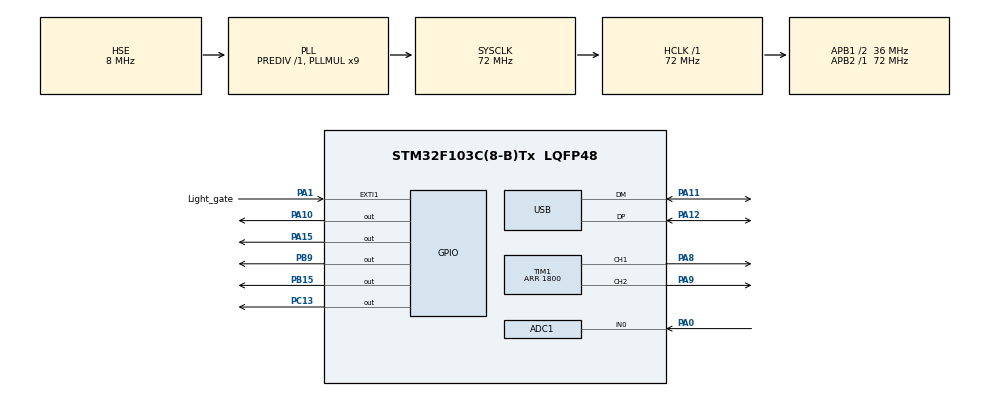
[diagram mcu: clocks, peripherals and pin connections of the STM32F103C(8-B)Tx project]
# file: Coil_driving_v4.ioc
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ADC1.Channel-0\#ChannelRegularConversion=ADC_CHANNEL_0
ADC1.ContinuousConvMode=DISABLE
ADC1.ExternalTrigConv=ADC_EXTERNALTRIGCONV_T1_CC3
ADC1.NbrOfConversion=1
ADC1.NbrOfConversionFlag=1
ADC1.Rank-0\#ChannelRegularConversion=1
ADC1.SamplingTime-0\#ChannelRegularConversion=ADC_SAMPLETIME_1CYCLE_5
ADC1.master=1
Dma.ADC1.0.Direction=DMA_PERIPH_TO_MEMORY
Dma.ADC1.0.Instance=DMA1_Channel1
Dma.ADC1.0.MemDataAlignment=DMA_MDATAALIGN_HALFWORD
Dma.ADC1.0.MemInc=DMA_MINC_ENABLE
Dma.ADC1.0.Mode=DMA_NORMAL
Dma.ADC1.0.PeriphDataAlignment=DMA_PDATAALIGN_HALFWORD
Dma.ADC1.0.PeriphInc=DMA_PINC_DISABLE
Dma.ADC1.0.Priority=DMA_PRIORITY_LOW
Dma.Request0=ADC1
Mcu.Family=STM32F1
Mcu.Name=STM32F103C(8-B)Tx
Mcu.Package=LQFP48
NVIC.ADC1_2_IRQn=true\:0\:0\:false\:false\:true\:true\:true\:true
NVIC.DMA1_Channel1_IRQn=true\:0\:0\:false\:false\:true\:false\:true\:true
NVIC.EXTI1_IRQn=true\:0\:0\:false\:false\:true\:true\:true\:true
NVIC.PriorityGroup=NVIC_PRIORITYGROUP_4
NVIC.TIM1_CC_IRQn=true\:0\:0\:false\:false\:true\:true\:true\:true
NVIC.TIM1_TRG_COM_IRQn=true\:0\:0\:false\:false\:true\:true\:true\:true
NVIC.TIM1_UP_IRQn=true\:0\:0\:false\:false\:true\:true\:true\:true
NVIC.USB_LP_CAN1_RX0_IRQn=true\:0\:0\:false\:false\:true\:false\:true\:true
PA0-WKUP.Signal=ADCx_IN0
PA1.GPIO_Label=Light_gate
PA1.GPIO_ModeDefaultEXTI=GPIO_MODE_IT_RISING_FALLING
PA1.GPIO_PuPd=GPIO_PULLUP
PA1.Signal=GPXTI1
PA10.Signal=GPIO_Output
PA11.Mode=Device
PA11.Signal=USB_DM
PA12.Mode=Device
PA12.Signal=USB_DP
PA13.Mode=Serial_Wire
PA13.Signal=SYS_JTMS-SWDIO
PA14.Mode=Serial_Wire
PA14.Signal=SYS_JTCK-SWCLK
PA15.Signal=GPIO_Output
PA8.Signal=S_TIM1_CH1
PA9.Signal=S_TIM1_CH2
PB15.Signal=GPIO_Output
PB9.Signal=GPIO_Output
PC13-TAMPER-RTC.PinState=GPIO_PIN_SET
PC13-TAMPER-RTC.Signal=GPIO_Output
PD0-OSC_IN.Mode=HSE-External-Oscillator
PD0-OSC_IN.Signal=RCC_OSC_IN
PD1-OSC_OUT.Mode=HSE-External-Oscillator
PD1-OSC_OUT.Signal=RCC_OSC_OUT
ProjectManager.HeapSize=0x200
ProjectManager.StackSize=0x400
ProjectManager.TargetToolchain=STM32CubeIDE
RCC.ADCPresc=RCC_ADCPCLK2_DIV6
RCC.AHBFreq_Value=72000000
RCC.APB1CLKDivider=RCC_HCLK_DIV2
RCC.APB1Freq_Value=36000000
RCC.APB1TimFreq_Value=72000000
RCC.APB2Freq_Value=72000000
RCC.APB2TimFreq_Value=72000000
RCC.HCLKFreq_Value=72000000
RCC.PLLMUL=RCC_PLL_MUL9
RCC.PLLSourceVirtual=RCC_PLLSOURCE_HSE
RCC.SYSCLKFreq_VALUE=72000000
RCC.SYSCLKSource=RCC_SYSCLKSOURCE_PLLCLK
RCC.USBFreq_Value=48000000
RCC.USBPrescaler=RCC_USBCLKSOURCE_PLL_DIV1_5
SH.ADCx_IN0.0=ADC1_IN0,IN0
SH.S_TIM1_CH1.0=TIM1_CH1,PWM Generation1 CH1
SH.S_TIM1_CH2.0=TIM1_CH2,PWM Generation2 CH2
TIM1.Channel-PWM\ Generation1\ CH1=TIM_CHANNEL_1
TIM1.Channel-PWM\ Generation2\ CH2=TIM_CHANNEL_2
TIM1.Channel-PWM\ Generation3\ No\ Output=TIM_CHANNEL_3
TIM1.CounterMode=TIM_COUNTERMODE_CENTERALIGNED1
TIM1.Period=1800
TIM1.TIM_MasterOutputTrigger=TIM_TRGO_OC3REF
TIM2.Prescaler=71
USB_DEVICE.CLASS_NAME_FS=CDC
USB_DEVICE.USBD_MAX_STR_DESC_SIZ=1024
USB_DEVICE.VirtualMode=Cdc
USB_DEVICE.VirtualModeFS=Cdc_FS
VP_TIM1_VS_ClockSourceINT.Mode=Internal
VP_TIM1_VS_no_output3.Mode=PWM Generation3 No Output
VP_TIM2_VS_ClockSourceINT.Mode=Internal
VP_USB_DEVICE_VS_USB_DEVICE_CDC_FS.Mode=CDC_FS
board=custom

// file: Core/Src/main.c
/* USER CODE BEGIN Header */
/**
  ******************************************************************************
  * @file           : main.c
  * @brief          : Main program body
  ******************************************************************************
  * @attention
  *
  * Copyright (c) 2026 STMicroelectronics.
  * All rights reserved.
  *
  * This software is licensed under terms that can be found in the LICENSE file
  * in the root directory of this software component.
  * If no LICENSE file comes with this software, it is provided AS-IS.
  *
  ******************************************************************************
  */
/* USER CODE END Header */
#include "main.h"
#include "adc.h"
#include "dma.h"
#include "tim.h"
#include "usb_device.h"
#include "gpio.h"

/* USER CODE BEGIN Includes */
#include "usbd_cdc_if.h"
#include <stdint.h>
#include <string.h>
#include <stdio.h>
#include <stdlib.h>
#include <math.h>
#include "debug.h"
#include "bts7960.h"
/* USER CODE END Includes */

/* USER CODE BEGIN PD */
#define PWM_TIM htim1
#define RPWM_CHANNEL TIM_CHANNEL_2
#define LPWM_CHANNEL TIM_CHANNEL_1
#define R_EN_PIN GPIO_PIN_10
#define L_EN_PIN GPIO_PIN_15
#define R_EN_PORT GPIOA
#define L_EN_PORT GPIOB

#define VREF 3.3f
#define ADC_MAX 4095
#define SENSOR_ZERO 1.670f //1.360f
#define MV_PER_AMP 0.185f
#define TARGET_CURRENT 7.5f
#define ADC_BUF_LEN 64
#define PACKET_SIZE 128
#define HYST_MAX 0.8f
#define HYST_MIN 0.5f

#define DT 0.00005f

#define ADC_BUF_LEN 64
#define ADC_RAW_TO_VOLTAGE 0.0008058608059
#define PACKET_SIZE 128

#define GATE_WIDTH_M     0.005f
#define GATE_TO_COIL_M  0.01f
/* USER CODE END PD */

/* USER CODE BEGIN PV */
// Light Gate test variables
volatile uint32_t gate_start = 0;
volatile uint32_t gate_time_us = 0;
volatile uint8_t  gate_active = 0;
volatile uint8_t  gate_done = 0;

volatile float    ball_speed = 0.0f;
volatile uint32_t coil_delay_ms = 0;
volatile uint8_t  auto_trigger_pending = 0;
volatile uint8_t  delay_active = 0;
volatile uint32_t delay_start_time = 0;

volatile uint32_t coil_arrival_delay_ms = 0;
volatile uint32_t coil_hold_time_ms = 0;

// Speed control
float target_speed = 3.0f;    // m/s (you choose)
float speed_error = 0.0f;
float speed_error_prev = 0.0f;
float speed_integral = 0.0f;

// PID gains (start conservative)
float Kp = 7.0f;
float Ki = 0.04f;
float Kd = 0.1f;

// PID output
float hold_time_scale = 1.0f;
static uint32_t last_speed_tick = 0; // keeps track of last tick for PID dt

// USB buffer
extern uint8_t UserRxBufferFS[APP_RX_DATA_SIZE];
extern uint32_t UserRxLengthFS;
extern USBD_HandleTypeDef hUsbDeviceFS;
char inputBuffer[APP_RX_DATA_SIZE];
uint32_t inputIndex = 0;
volatile uint8_t usb_ready = 0;
volatile uint8_t send_adc_data = 0;

// DMA setup
volatile uint16_t adc_buf[ADC_BUF_LEN];
volatile float currentVoltage[ADC_BUF_LEN];
char uart_msg[16];
static uint16_t last_mv = 0;
volatile uint8_t dma_buffer_full = 0;

// Current sensor
uint16_t raw_adc_current;
volatile float measured_current = 0.0f;

// State
volatile uint8_t stop_requested = 0;
uint8_t stopCheck(void);
void runAutoPhases(void);

// Auto mode state
typedef enum {PHASE_IDLE, PHASE1, PHASE2_HOLD, PHASE3} AutoPhase_t;
static AutoPhase_t autoPhase = PHASE_IDLE;
static uint32_t phase_timer = 0;
static float pwm_percent = 0.0f;
static float pwm_forward = 0.0f;
static float last_pwm_forward = 0.0f;
static float pwm_reverse = 0.0f;
static uint8_t phase_msg_sent = 0; // flag to print USB messages once per phase

// Debug options
volatile uint32_t debug_timer_ms = 0;
volatile float debug_measured_current = 0.0f;
float error = 0;
volatile float debug_pwm = 50.0f;
uint32_t last_dma_time = 0;
uint32_t dma_interval_ms = 10000;
uint32_t dma_interval_max = 11000;

volatile uint32_t direct_measurement = 0;

uint16_t debug_raw_adc_current;

// ---- Tunable gains ----
float Kp_coil = 8.7f;
float Ki_coil = 150.0f;

// ---- Internal states ----
float integral = 0.0f;
float filtered_current = 0.0f;
float alpha = 0.5f;

/* USER CODE END PV */

void SystemClock_Config(void);
/* USER CODE BEGIN PFP */

/*Extern Parameters BEGIN*/

/*Extern Parameters END*/
/* USER CODE END PFP */

/* USER CODE BEGIN 0 */
/* ---------------- BTS7960 helper functions ---------------- */

void process_adc_buffer(void)
{
	uint16_t raw = adc_buf[ADC_BUF_LEN-1];
	float voltage = ((float)raw * VREF) / ADC_MAX;
	measured_current = (voltage - SENSOR_ZERO) * 1000.0f / MV_PER_AMP;
}

static inline uint16_t adc_to_millivolts(uint16_t adc)
{
    return (uint16_t)((adc * 3300UL) / 4095UL);
}

void usbPrint(const char* msg)
{

	    if (hUsbDeviceFS.dev_state != USBD_STATE_CONFIGURED)
	        return;

	    uint8_t res = CDC_Transmit_FS((uint8_t*)msg, strlen(msg));
}

void runAutoStateMachine(void)
{
    uint32_t now = HAL_GetTick();
    float current = measured_current;

    switch (autoPhase)
    {
        case PHASE_IDLE:
            BTS7960_Stop();
            HAL_GPIO_WritePin(GPIOC, GPIO_PIN_13, GPIO_PIN_SET);
            pwm_reverse = 0.0f;
            break;

        case PHASE1:

            pwm_reverse = 0.0f;
            break;

        case PHASE2_HOLD:
        {

            if (now - phase_timer >= coil_hold_time_ms)
            {
                autoPhase = PHASE3;
            }
        }
        break;

        case PHASE3:
            pwm_reverse = 100.0f;
            BTS7960_Reverse(pwm_reverse);

            if (current <= 1.75f) //All fixed variables must change under different curcumpstances
            {
                BTS7960_Stop();
                phase_timer = now;
                send_adc_data = 1;
                autoPhase = PHASE_IDLE;
            }
            break;
    }
}

void HAL_GPIO_EXTI_Callback(uint16_t GPIO_Pin)
{
    if (GPIO_Pin != GPIO_PIN_1)
        return;

    uint32_t now = __HAL_TIM_GET_COUNTER(&htim2);

    if (HAL_GPIO_ReadPin(GPIOA, GPIO_PIN_1) == GPIO_PIN_RESET)
    {
        // Beam blocked
        gate_start = now;
        gate_active = 1;
    }
    else if (gate_active)
    {
        // Beam released
        if (now >= gate_start)
            gate_time_us = now - gate_start;
        else
            gate_time_us = (0xFFFF - gate_start) + now + 1;

        gate_active = 0;
        gate_done = 1;
    }
}

/* USER CODE END 0 */

int main(void)
{

  /* MCU Configuration--------------------------------------------------------*/

  /* Reset of all peripherals, Initializes the Flash interface and the Systick. */
  HAL_Init();

  /* Configure the system clock */
  SystemClock_Config();

  /* Initialize all configured peripherals */
  MX_GPIO_Init();
  MX_DMA_Init();
  MX_USB_DEVICE_Init();
  MX_ADC1_Init();
  MX_TIM1_Init();
  MX_TIM2_Init();
  /* USER CODE BEGIN 2 */

  //while(hUsbDeviceFS.dev_state != USBD_STATE_CONFIGURED)
   //         HAL_Delay(10);

  // Start ADC
  if (HAL_ADC_Start_IT(&hadc1) != HAL_OK)
  {
   	 Error_Handler();
  }

  // DMA ADC setup
  //HAL_ADC_Start_DMA(&hadc1, (uint32_t*)adc_buf, ADC_BUF_LEN);

  // Start PWM main counter
  HAL_TIM_Base_Start(&PWM_TIM);

  // Start the Light gate timer
  HAL_TIM_Base_Start(&htim2);

  //Trigger the ADC when TIM1 counter reaches 2
  PWM_TIM.Instance->CCR3 = 2;
  //__HAL_TIM_SET_COMPARE(&PWM_TIM, TIM_CHANNEL_3, TIM1->ARR / 2); !Needs testing
  BTS7960_Init(&PWM_TIM, R_EN_PORT, R_EN_PIN, RPWM_CHANNEL, L_EN_PORT, L_EN_PIN, LPWM_CHANNEL);
  BTS7960_Stop();

  // Start PWM on both channels used by BTS7960
  if (HAL_TIM_PWM_Start(&PWM_TIM, RPWM_CHANNEL) != HAL_OK)
  {
      Error_Handler();
  }

  if (HAL_TIM_PWM_Start(&PWM_TIM, LPWM_CHANNEL) != HAL_OK)
  {
	  Error_Handler();
  }

  if (HAL_TIM_PWM_Start_IT(&PWM_TIM, TIM_CHANNEL_3) != HAL_OK)
  {
      Error_Handler();
  }

  //__HAL_TIM_MOE_ENABLE(&PWM_TIM);

  HAL_GPIO_WritePin(GPIOC, GPIO_PIN_13, GPIO_PIN_SET);

  //HAL_GPIO_WritePin(GPIOC, GPIO_PIN_13, RESET);

  /* USER CODE END 2 */

  /* Infinite loop */
  /* USER CODE BEGIN WHILE */
  while (1)
  {
	//! New Debug Function:
    DEBUG_FixedPWM(&error, &debug_pwm, measured_current,TARGET_CURRENT);
	// Run auto state machine to drive coil based on measured_current
	runAutoStateMachine();

	if(dma_buffer_full && send_adc_data)
	{
	    static char usb_tx_buffer[512];
	    int usb_tx_length = 0;

	    for (int sample_index = 0; sample_index < ADC_BUF_LEN; sample_index++)
	    {
	        uint16_t millivolts = adc_to_millivolts(adc_buf[sample_index]);

	        usb_tx_length += snprintf(&usb_tx_buffer[usb_tx_length],
	                                  sizeof(usb_tx_buffer) - usb_tx_length,
	                                  "C%u,", millivolts);

	        if (usb_tx_length >= sizeof(usb_tx_buffer))
	            break; // prevent overflow
	    }

	    if (usb_tx_length > 0)
	    {
	        usb_tx_buffer[usb_tx_length - 1] = '\r';
	        usb_tx_buffer[usb_tx_length++] = '\n';
	    }

	    usbPrint(usb_tx_buffer);

	    dma_buffer_full = 0; // reset flag
	    send_adc_data = 0;
	}

	if(gate_done)
	{
	    gate_done = 0;
	    HAL_GPIO_WritePin(GPIOC, GPIO_PIN_13, GPIO_PIN_RESET);

	    HAL_ADC_Stop_IT(&hadc1);
	    HAL_ADC_Start_DMA(&hadc1, (uint32_t*)adc_buf, ADC_BUF_LEN);

	    ball_speed = 0.0f;
	    speed_integral = 0.0f;
	              speed_error = 0.0f;

	    if(gate_time_us == 0) continue;

	        /* ---- Calculate speed ---- */

	        float gate_time_s = gate_time_us * 1e-6f;
	        ball_speed = GATE_WIDTH_M / gate_time_s;

	        /* ---- Calculate travel time to coil ---- */

	        float travel_time_ms = (GATE_TO_COIL_M / ball_speed) * 1000.0f;

	        /* ---- PID timing correction ---- */
	        uint32_t now_us = __HAL_TIM_GET_COUNTER(&htim2);
	        uint32_t dt_us;

	        if (now_us >= last_speed_tick)
	            dt_us = now_us - last_speed_tick;
	        else
	            dt_us = (0xFFFF - last_speed_tick) + now_us + 1;

	        last_speed_tick = now_us;
	        float dt_s = dt_us * 1e-6f;

	        speed_error = target_speed - ball_speed;
	        speed_integral += speed_error * dt_s;

	        float derivative = (speed_error - speed_error_prev) / dt_s;
	        speed_error_prev = speed_error;

	        float pid_output = (Kp*speed_error + Ki*speed_integral + Kd*derivative);

	        coil_hold_time_ms = (uint32_t)(travel_time_ms + pid_output);

	        /* ---- Turn coil ON immediately ---- */
	        autoPhase = PHASE1;
	        phase_timer = HAL_GetTick();

	    char buf[96];
	    snprintf(buf, sizeof(buf),
	    "Pulse_delay=%lu ms | speed=%.2f m/s | speed_error=%f \r\n",
	  coil_hold_time_ms, ball_speed, speed_error_prev);
	   usbPrint(buf);
	}
    DEBUG_PrintCurrent(HAL_GetTick(), &last_dma_time, 100, measured_current, raw_adc_current, true);
    /* USER CODE END WHILE */

  }
}

void SystemClock_Config(void)
{
  RCC_OscInitTypeDef RCC_OscInitStruct = {0};
  RCC_ClkInitTypeDef RCC_ClkInitStruct = {0};
  RCC_PeriphCLKInitTypeDef PeriphClkInit = {0};

  /** Initializes the RCC Oscillators according to the specified parameters
  * in the RCC_OscInitTypeDef structure.
  */
  RCC_OscInitStruct.OscillatorType = RCC_OSCILLATORTYPE_HSE;
  RCC_OscInitStruct.HSEState = RCC_HSE_ON;
  RCC_OscInitStruct.HSEPredivValue = RCC_HSE_PREDIV_DIV1;
  RCC_OscInitStruct.HSIState = RCC_HSI_ON;
  RCC_OscInitStruct.PLL.PLLState = RCC_PLL_ON;
  RCC_OscInitStruct.PLL.PLLSource = RCC_PLLSOURCE_HSE;
  RCC_OscInitStruct.PLL.PLLMUL = RCC_PLL_MUL9;
  if (HAL_RCC_OscConfig(&RCC_OscInitStruct) != HAL_OK)
  {
    Error_Handler();
  }

  /** Initializes the CPU, AHB and APB buses clocks
  */
  RCC_ClkInitStruct.ClockType = RCC_CLOCKTYPE_HCLK|RCC_CLOCKTYPE_SYSCLK
                              |RCC_CLOCKTYPE_PCLK1|RCC_CLOCKTYPE_PCLK2;
  RCC_ClkInitStruct.SYSCLKSource = RCC_SYSCLKSOURCE_PLLCLK;
  RCC_ClkInitStruct.AHBCLKDivider = RCC_SYSCLK_DIV1;
  RCC_ClkInitStruct.APB1CLKDivider = RCC_HCLK_DIV2;
  RCC_ClkInitStruct.APB2CLKDivider = RCC_HCLK_DIV1;

  if (HAL_RCC_ClockConfig(&RCC_ClkInitStruct, FLASH_LATENCY_2) != HAL_OK)
  {
    Error_Handler();
  }
  PeriphClkInit.PeriphClockSelection = RCC_PERIPHCLK_ADC|RCC_PERIPHCLK_USB;
  PeriphClkInit.AdcClockSelection = RCC_ADCPCLK2_DIV6;
  PeriphClkInit.UsbClockSelection = RCC_USBCLKSOURCE_PLL_DIV1_5;
  if (HAL_RCCEx_PeriphCLKConfig(&PeriphClkInit) != HAL_OK)
  {
    Error_Handler();
  }
}

/* USER CODE BEGIN 4 */
void process_adc(uint16_t adc_val)
{
    static uint16_t last_mv = 0;
    uint16_t mv = adc_to_millivolts(adc_val);

    if (mv != last_mv)
    {
    	char buf[16];
        snprintf(buf, sizeof(buf), "C%u\r\n", mv);
        usbPrint(buf);
        last_mv = mv;
    }
}

void HAL_ADC_ConvCpltCallback(ADC_HandleTypeDef* hadc)
{
    if(hadc->Instance == ADC1)
    {
    	// 1. Stop DMA (only once!)
    	HAL_ADC_Stop_DMA(hadc);

    	// 2. Mark buffer ready
    	dma_buffer_full = 1;

    	// 3. Restart ADC in interrupt mode
    	HAL_ADC_Start_IT(hadc);
    }
}

void HAL_TIM_PWM_PulseFinishedCallback(TIM_HandleTypeDef *htim)
{
    // Runs when TIM1 Channel 3 triggers - 20kHz loop
    if (htim->Instance == TIM1 && htim->Channel == HAL_TIM_ACTIVE_CHANNEL_3)
    {

            debug_raw_adc_current = ADC1->DR;
            float voltage_diff = (debug_raw_adc_current * ADC_RAW_TO_VOLTAGE) - SENSOR_ZERO;
            measured_current = voltage_diff / MV_PER_AMP;

            if(autoPhase == PHASE1)
                	{

                		BTS7960_Forward(100.0f);

                		if(measured_current >= (TARGET_CURRENT - 2.7f))
                			{
                		       phase_timer = HAL_GetTick();
                		       autoPhase = PHASE2_HOLD;
                			}
                		else if ((HAL_GetTick() - phase_timer) >= 1000)
                		    {
                		       autoPhase = PHASE_IDLE;
                		    }
                	}

                	if(autoPhase == PHASE2_HOLD)
                	{
                		filtered_current += alpha * (measured_current - filtered_current);

                		float error = TARGET_CURRENT - filtered_current;

                		float pwm_unsat = Kp_coil * error + Ki_coil * integral;

                		    if (
                		        (pwm_unsat < PWM_MAX && pwm_unsat > PWM_MIN) ||
                		        (pwm_unsat >= PWM_MAX && error < 0) ||
                		        (pwm_unsat <= PWM_MIN && error > 0)
                		       )
                		    {
                		        integral += error * DT;
                		    }

                		    pwm_forward = Kp_coil * error + Ki_coil * integral;

                		    BTS7960_Forward(pwm_forward);
                	}

    }
}

void HAL_SYSTICK_Callback(void)
{

}

/* USER CODE END 4 */

void Error_Handler(void)
{
  __disable_irq();
  while (1)
  {
  }
}
